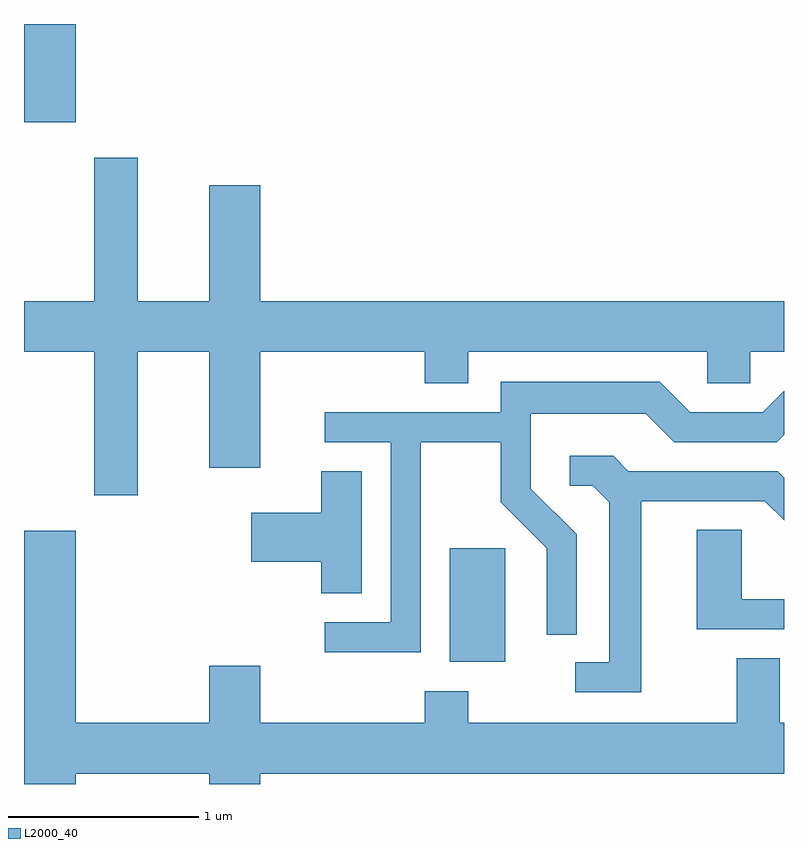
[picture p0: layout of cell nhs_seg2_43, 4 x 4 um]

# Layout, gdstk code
import gdstk
lib = gdstk.Library(unit=1e-6, precision=1e-09)
def R(c, l, rs):  # rectangles x0, y0, x1, y1
    for r in rs: c.add(gdstk.rectangle(r[:2], r[2:], *l))
def P(c, l, *ps):  # polygons
    for p in ps: c.add(gdstk.Polygon(p, *l))
L2000_40 = (2000, 40)

nhs_seg2_43 = lib.new_cell('nhs_seg2_43')
R(nhs_seg2_43, L2000_40, [(187.851,1064.446,188.144,1065.044), (185.611,1067.286,185.884,1067.802)])
P(nhs_seg2_43, L2000_40, [(186.209,1066.076),(186.586,1066.076),(186.586,1065.466),(186.854,1065.466),(186.854,1066.076),(187.721,1066.076),(187.721,1065.911),(187.949,1065.911),(187.949,1066.076),(189.206,1066.076),(189.206,1065.911),(189.434,1065.911),(189.434,1066.076),(189.611,1066.076),(189.611,1066.344),(186.854,1066.344),(186.854,1066.954),(186.586,1066.954),(186.586,1066.344),(186.209,1066.344),(186.209,1067.099),(185.981,1067.099),(185.981,1066.344),(185.611,1066.344),(185.611,1066.076),(185.981,1066.076),(185.981,1065.321),(186.209,1065.321)],
  [(187.699,1065.601),(188.121,1065.601),(188.121,1065.284),(188.361,1065.044),(188.361,1064.588),(188.519,1064.588),(188.519,1065.117),(188.279,1065.357),(188.279,1065.751),(188.884,1065.751),(189.034,1065.601),(189.572,1065.601),(189.611,1065.64),(189.611,1065.871),(189.499,1065.759),(189.117,1065.759),(188.957,1065.919),(188.121,1065.919),(188.121,1065.759),(187.193,1065.759),(187.193,1065.601),(187.541,1065.601),(187.541,1064.654),(187.193,1064.654),(187.193,1064.496),(187.699,1064.496)],
  [(188.859,1065.291),(189.509,1065.291),(189.611,1065.189),(189.611,1065.415),(189.577,1065.449),(188.792,1065.449),(188.712,1065.529),(188.483,1065.529),(188.483,1065.371),(188.604,1065.371),(188.691,1065.284),(188.691,1064.444),(188.513,1064.444),(188.513,1064.286),(188.859,1064.286)],
  [(187.389,1065.449),(187.176,1065.449),(187.176,1065.229),(186.806,1065.229),(186.806,1064.971),(187.176,1064.971),(187.176,1064.806),(187.389,1064.806)],
  [(189.611,1064.774),(189.389,1064.774),(189.389,1065.139),(189.151,1065.139),(189.151,1064.616),(189.611,1064.616)],
  [(185.884,1063.856),(186.586,1063.856),(186.586,1063.802),(186.854,1063.802),(186.854,1063.856),(189.611,1063.856),(189.611,1064.124),(189.589,1064.124),(189.589,1064.464),(189.361,1064.464),(189.361,1064.124),(187.949,1064.124),(187.949,1064.289),(187.721,1064.289),(187.721,1064.124),(186.854,1064.124),(186.854,1064.424),(186.586,1064.424),(186.586,1064.124),(185.884,1064.124),(185.884,1065.134),(185.611,1065.134),(185.611,1063.802),(185.884,1063.802)])

lib.write_gds('nhs_seg2_43.gds')
